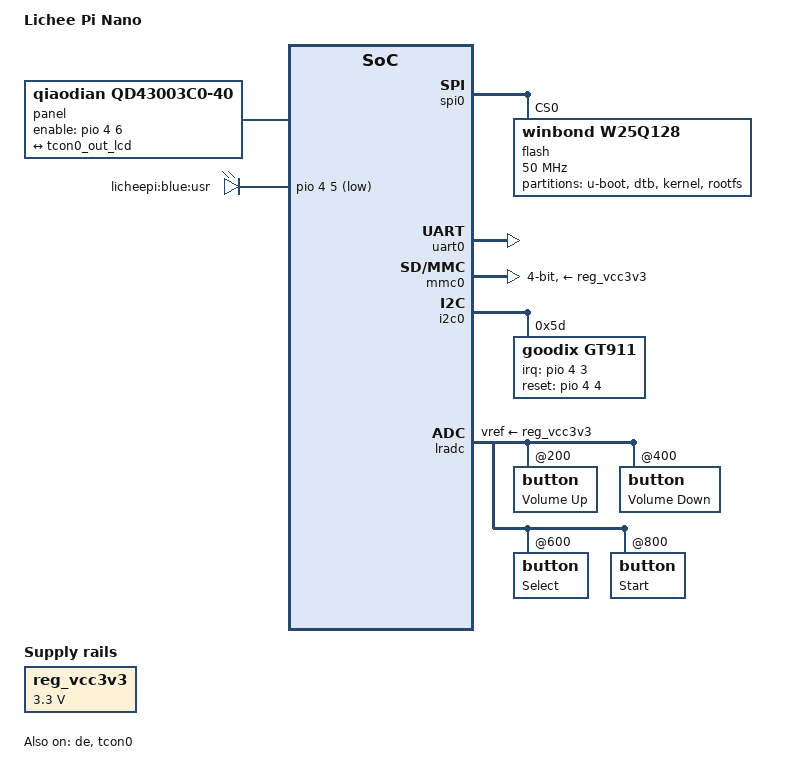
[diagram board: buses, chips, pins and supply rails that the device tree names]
// SPDX-License-Identifier: (GPL-2.0+ OR X11)
/*
 * Copyright 2018 Icenowy Zheng <icenowy@aosc.io>
 */

/dts-v1/;
#include "suniv-f1c100s.dtsi"

#include <dt-bindings/gpio/gpio.h>
#include <dt-bindings/input/input.h>
#include <dt-bindings/interrupt-controller/irq.h>

/ {
	model = "Lichee Pi Nano";
	compatible = "licheepi,licheepi-nano", "allwinner,suniv-f1c100s",
		     "allwinner,suniv";

	aliases {
		serial0 = &uart0;
		spi0 = &spi0;
	};

	chosen {
		stdout-path = "serial0:115200n8";
	};

	reg_vcc3v3: vcc3v3 {
		compatible = "regulator-fixed";
		regulator-name = "vcc3v3";
		regulator-min-microvolt = <3300000>;
		regulator-max-microvolt = <3300000>;
	};

	panel: panel {
		compatible = "qiaodian,qd43003c0-40", "simple-panel";
		/* compatible = "lg,lb070wv8", "simple-panel"; */
		/* compatible = "sharp,lq043t1dg04", "simple-panel"; */
		#address-cells = <1>;
		#size-cells = <0>;
		enable-gpios = <&pio 4 6 GPIO_ACTIVE_HIGH>;

		port@0 {
			reg = <0>;
			#address-cells = <1>;
			#size-cells = <0>;

			panel_input: endpoint@0 {
				reg = <0>;
				remote-endpoint = <&tcon0_out_lcd>;
			};
		};
	};

	leds {
		compatible = "gpio-leds";

			// blue_led {
			// 	label = "licheepi:blue:usr";
			// 	gpios = <&pio 4 4 GPIO_ACTIVE_LOW>; /* PE4 */
			// 	linux,default-trigger = "disk-activity";
			// };

			blue_led {
				label = "licheepi:blue:usr";
				gpios = <&pio 4 5 GPIO_ACTIVE_LOW>; /* PE5 */
				linux,default-trigger = "heartbeat";
			};

	};

	
};

&de {
	status = "okay";
};

&spi0 {
	pinctrl-names = "default";
	pinctrl-0 = <&spi0_pins_a>;
	status = "okay";
	spi-max-frequency = <50000000>;
	flash: w25q128@0 {
		#address-cells = <1>;
		#size-cells = <1>;
		compatible = "winbond,w25q128", "jedec,spi-nor";
		reg = <0>;
		spi-max-frequency = <50000000>;
		partitions {
			compatible = "fixed-partitions";
			#address-cells = <1>;
			#size-cells = <1>;

			partition@0 {
				label = "u-boot";
				reg = <0x000000 0x100000>;
			};

			partition@100000 {
				label = "dtb";
				reg = <0x100000 0x10000>;
			};

			partition@110000 {
				label = "kernel";
				reg = <0x110000 0x400000>;
			};

			partition@510000 {
				label = "rootfs";
				reg = <0x510000 0xAF0000>;
			};
		};
	};
};

&uart0 {
	pinctrl-names = "default";
	pinctrl-0 = <&uart0_pins_a>;
	status = "okay";
};

&mmc0 {
	vmmc-supply = <&reg_vcc3v3>;
	bus-width = <4>;
	broken-cd;
	status = "okay";
};

&tcon0 {
	pinctrl-names = "default";
	pinctrl-0 = <&lcd_rgb666_pins>;
	status = "okay";
};

&tcon0_out {
	tcon0_out_lcd: endpoint@0 {
		reg = <0>;
		remote-endpoint = <&panel_input>;
	};
};

&i2c0 {
	pinctrl-0 = <&i2c0_pins>;
	pinctrl-names = "default";
	status = "okay";

	gt911: touchscreen@5d {
		compatible = "goodix,gt911";
		reg = <0x5d>;
		interrupt-parent = <&pio>;
		interrupts = <4 3 IRQ_TYPE_EDGE_FALLING>;
		pinctrl-names = "default";
		pinctrl-0 = <&ts_reset_pin>;
		irq-gpios = <&pio 4 3 GPIO_ACTIVE_HIGH>; /* INT */
		reset-gpios = <&pio 4 4 GPIO_ACTIVE_HIGH>; /* RST */
		/* touchscreen-swapped-x-y; */
	};
};

&pio {
        gt911_int_pin: gt911_int_pin@0 {
                pins = "PE3";
                function = "gpio_in";
        };

		ts_reset_pin: ts_reset_pin@0 {
			pins = "PE4";
			function = "gpio_out";
		};
};

&lradc {
	vref-supply = <&reg_vcc3v3>;
	status = "okay";

	button@200 {
		label = "Volume Up";
		linux,code = <KEY_VOLUMEUP>;
		channel = <0>;
		voltage = <200000>;
	};

	button@400 {
		label = "Volume Down";
		linux,code = <KEY_VOLUMEDOWN>;
		channel = <0>;
		voltage = <400000>;
	};

	button@600 {
		label = "Select";
		linux,code = <KEY_SELECT>;
		channel = <0>;
		voltage = <600000>;
	};

	button@800 {
		label = "Start";
		linux,code = <KEY_OK>;
		channel = <0>;
		voltage = <800000>;
	};
};

